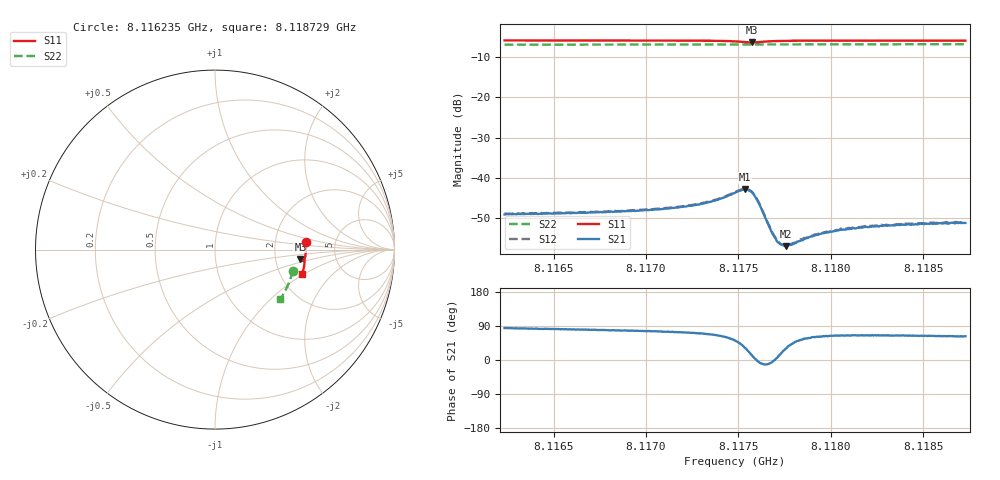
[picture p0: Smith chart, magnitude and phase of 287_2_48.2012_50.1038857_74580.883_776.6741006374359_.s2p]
#  HZ  S  RI  R  50.00
! Rohde & Schwarz Vector Network Analyzer
! Rohde-Schwarz,ZNB20-2Port,1311601062101988,3.16
! Created: UTC 3/20/2024, 11:48:55 AM
! freq[Hz]  re:S11  im:S11  re:S21  im:S21  re:S12  im:S12  re:S22  im:S22
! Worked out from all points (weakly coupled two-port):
!   401 points, 8.116235 GHz to 8.118729 GHz, reference 50 ohm
!   highest |S21| = -42.86 dB at 8.117538 GHz (marker M1); lowest = -56.9 dB at 8.117756 GHz (marker M2)
!   lowest |S11| = -6.4 dB at 8.117576 GHz (marker M3), VSWR 2.84, Z = 139 - j18.8 ohm
!   |S11| at or under -10 dB: nowhere
!   |S22| runs from -7.0 to -6.8 dB; largest |S21 - S12| = 0.00018
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8.1162354e9  0.5054 0.0406  0.000354 0.0035  0.000403 0.00358  0.4335 -0.1176
8.1166531e9  0.5064 0.00922  0.00064 0.00363  0.000686 0.00368  0.4261 -0.1457
8.1170707e9  0.505 -0.0235  0.00103 0.00393  0.0011 0.004  0.4168 -0.1733
8.1171892e9  0.5038 -0.0333  0.00126 0.00417  0.00131 0.0042  0.4137 -0.1809
8.1173076e9  0.5017 -0.044  0.00164 0.0045  0.00174 0.00456  0.4106 -0.1888
8.1174011e9  0.4982 -0.0533  0.00241 0.00493  0.00251 0.00498  0.4078 -0.1949
8.1174821e9  0.4903 -0.0612  0.00406 0.00511  0.0042 0.00519  0.4055 -0.2
8.1175382e9  0.4796 -0.0606  0.00613 0.00375  0.0063 0.00377  0.4032 -0.2033
8.1175569e9  0.4767 -0.0569  0.00651 0.00258  0.00668 0.00258  0.4028 -0.204
8.1175756e9  0.4762 -0.0521  0.00641 0.00128  0.00656 0.00125  0.4022 -0.2051
8.1176068e9  0.4811 -0.0462  0.00506 -0.000344  0.00515 -0.000381  0.4018 -0.2067
8.1176754e9  0.4935 -0.0495  0.00223 -0.000303  0.0023 -0.000348  0.4002 -0.2112
8.1177003e9  0.4958 -0.0526  0.0018 5.56e-05  0.00182 5.93e-05  0.3995 -0.2128
8.1177252e9  0.4971 -0.0557  0.00147 0.000358  0.00152 0.00032  0.3988 -0.2145
8.1177564e9  0.4981 -0.0594  0.00123 0.000713  0.00127 0.000742  0.398 -0.2167
8.1177751e9  0.4985 -0.0615  0.00115 0.000897  0.00118 0.000914  0.3973 -0.2176
8.1178998e9  0.4986 -0.0738  0.000921 0.00162  0.000995 0.00164  0.3936 -0.2256
8.1179496e9  0.4983 -0.0782  0.00096 0.00179  0.000982 0.00185  0.392 -0.2286
8.1180431e9  0.4973 -0.086  0.000979 0.00201  0.00101 0.00202  0.3887 -0.2346
8.1181927e9  0.4951 -0.0978  0.00103 0.00224  0.00107 0.00226  0.3834 -0.2437
8.1183174e9  0.4933 -0.1074  0.00112 0.00231  0.00111 0.00235  0.3792 -0.2513
8.1187288e9  0.4854 -0.1377  0.00126 0.00245  0.00133 0.00251  0.3634 -0.2754
